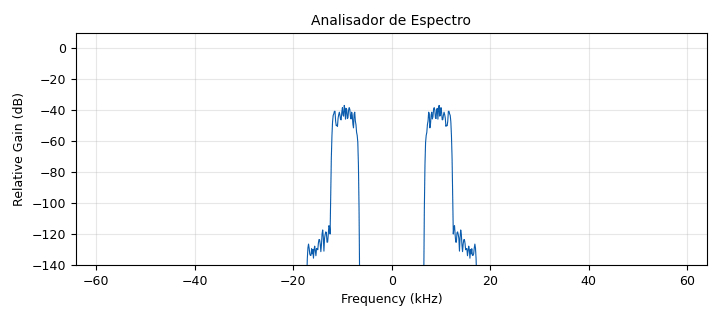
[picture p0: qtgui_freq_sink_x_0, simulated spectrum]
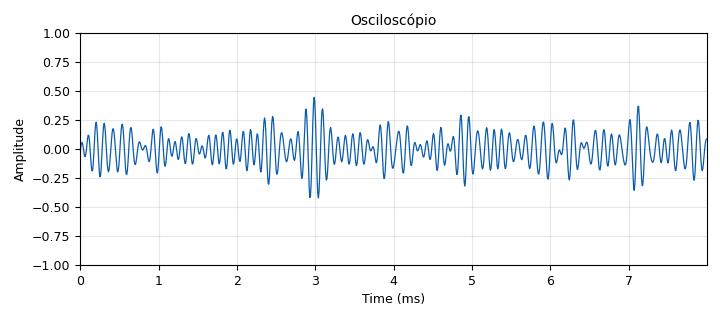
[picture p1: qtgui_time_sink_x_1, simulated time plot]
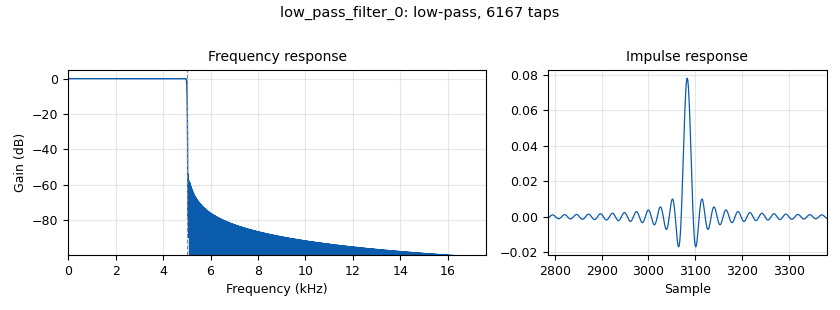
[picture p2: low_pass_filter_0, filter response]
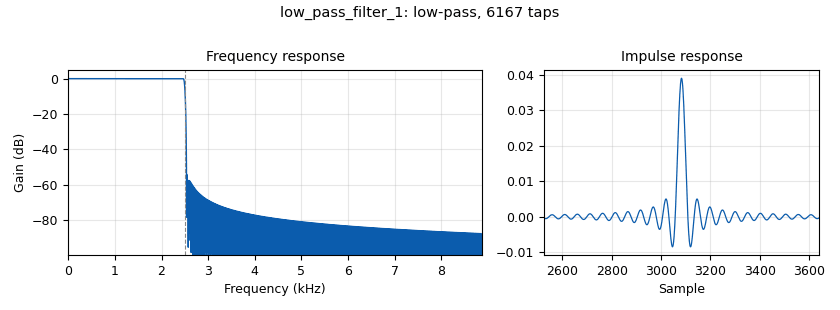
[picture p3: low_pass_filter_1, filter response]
options:
  parameters:
    author: pedro
    generate_options: qt_gui
    id: m180108140_Exp03_AR02
    output_language: python
    title: AR02
  states: {}

blocks:
- name: samp_rate
  id: variable
  parameters:
    value: '128000'
  states: {}
- name: analog_noise_source_x_0
  id: analog_noise_source_x
  parameters:
    amp: '1'
    noise_type: analog.GR_GAUSSIAN
    seed: '0'
    type: float
  states: {}
- name: analog_sig_source_x_0
  id: analog_sig_source_x
  parameters:
    amp: '1'
    freq: '2500'
    offset: '0'
    phase: '0'
    samp_rate: samp_rate
    type: float
    waveform: analog.GR_SIN_WAVE
  states: {}
- name: analog_sig_source_x_0_0
  id: analog_sig_source_x
  parameters:
    amp: '1'
    freq: '9500'
    offset: '0'
    phase: '0'
    samp_rate: samp_rate
    type: float
    waveform: analog.GR_SIN_WAVE
  states: {}
- name: analog_sig_source_x_1
  id: analog_sig_source_x
  parameters:
    amp: '1'
    freq: '2500'
    offset: '0'
    phase: '0'
    samp_rate: samp_rate
    type: float
    waveform: analog.GR_COS_WAVE
  states: {}
- name: analog_sig_source_x_1_0
  id: analog_sig_source_x
  parameters:
    amp: '1'
    freq: '9500'
    offset: '0'
    phase: '0'
    samp_rate: samp_rate
    type: float
    waveform: analog.GR_COS_WAVE
  states: {}
- name: blocks_add_xx_0
  id: blocks_add_xx
  parameters:
    type: float
  states: {state: disabled}
- name: blocks_multiply_xx_0
  id: blocks_multiply_xx
  parameters:
    type: float
  states: {}
- name: blocks_multiply_xx_0_0
  id: blocks_multiply_xx
  parameters:
    type: float
  states: {}
- name: blocks_multiply_xx_0_0_0
  id: blocks_multiply_xx
  parameters:
    type: float
  states: {}
- name: blocks_multiply_xx_0_1
  id: blocks_multiply_xx
  parameters:
    type: float
  states: {}
- name: blocks_rms_xx_0
  id: blocks_rms_xx
  parameters:
    alpha: '0.0001'
    type: float
  states: {}
- name: blocks_sub_xx_0
  id: blocks_sub_xx
  parameters:
    type: float
  states: {}
- name: blocks_throttle_0
  id: blocks_throttle
  parameters:
    samples_per_second: samp_rate
    type: float
  states: {}
- name: blocks_throttle_0_0
  id: blocks_throttle
  parameters:
    samples_per_second: samp_rate
    type: float
  states: {}
- name: blocks_throttle_0_0_0
  id: blocks_throttle
  parameters:
    samples_per_second: samp_rate
    type: float
  states: {}
- name: blocks_throttle_0_0_0_0
  id: blocks_throttle
  parameters:
    samples_per_second: samp_rate
    type: float
  states: {}
- name: blocks_throttle_0_0_1
  id: blocks_throttle
  parameters:
    samples_per_second: samp_rate
    type: float
  states: {}
- name: low_pass_filter_0
  id: low_pass_filter
  parameters:
    cutoff_freq: '5000'
    decim: '1'
    gain: '1'
    samp_rate: samp_rate
    type: fir_filter_fff
    width: '50'
    win: firdes.WIN_HAMMING
  states: {}
- name: low_pass_filter_1
  id: low_pass_filter
  parameters:
    cutoff_freq: '2500'
    decim: '1'
    gain: '1'
    samp_rate: samp_rate
    type: fir_filter_fff
    width: '50'
    win: firdes.WIN_HAMMING
  states: {}
- name: low_pass_filter_1_0
  id: low_pass_filter
  parameters:
    cutoff_freq: '2500'
    decim: '1'
    gain: '1'
    samp_rate: samp_rate
    type: fir_filter_fff
    width: '50'
    win: firdes.WIN_HAMMING
  states: {}
- name: qtgui_freq_sink_x_0
  id: qtgui_freq_sink_x
  parameters:
    bw: samp_rate
    ctrlpanel: 'True'
    fc: '0'
    fftsize: '1024'
    grid: 'True'
    gui_hint: (1,2,7,1)
    name: Analisador de Espectro
    type: float
    wintype: firdes.WIN_BLACKMAN_hARRIS
  states: {}
- name: qtgui_number_sink_0
  id: qtgui_number_sink
  parameters:
    graph_type: qtgui.NUM_GRAPH_HORIZ
    gui_hint: (8,1,1,2)
    name: Valor RMS
    type: float
  states: {}
- name: qtgui_time_sink_x_1
  id: qtgui_time_sink_x
  parameters:
    ctrlpanel: 'True'
    grid: 'True'
    gui_hint: (1,1,7,1)
    name: Osciloscópio
    size: '1024'
    srate: samp_rate
    tr_mode: qtgui.TRIG_MODE_AUTO
    type: float
    yunit: '"V"'
  states: {}

connections:
- [analog_noise_source_x_0, '0', blocks_throttle_0, '0']
- [analog_sig_source_x_0, '0', blocks_throttle_0_0_0, '0']
- [analog_sig_source_x_0_0, '0', blocks_throttle_0_0_0_0, '0']
- [analog_sig_source_x_1, '0', blocks_throttle_0_0, '0']
- [analog_sig_source_x_1_0, '0', blocks_throttle_0_0_1, '0']
- [blocks_add_xx_0, '0', blocks_rms_xx_0, '0']
- [blocks_add_xx_0, '0', qtgui_freq_sink_x_0, '0']
- [blocks_add_xx_0, '0', qtgui_time_sink_x_1, '0']
- [blocks_multiply_xx_0, '0', low_pass_filter_1, '0']
- [blocks_multiply_xx_0_0, '0', low_pass_filter_1_0, '0']
- [blocks_multiply_xx_0_0_0, '0', blocks_add_xx_0, '1']
- [blocks_multiply_xx_0_0_0, '0', blocks_sub_xx_0, '1']
- [blocks_multiply_xx_0_1, '0', blocks_add_xx_0, '0']
- [blocks_multiply_xx_0_1, '0', blocks_sub_xx_0, '0']
- [blocks_rms_xx_0, '0', qtgui_number_sink_0, '0']
- [blocks_sub_xx_0, '0', blocks_rms_xx_0, '0']
- [blocks_sub_xx_0, '0', qtgui_freq_sink_x_0, '0']
- [blocks_sub_xx_0, '0', qtgui_time_sink_x_1, '0']
- [blocks_throttle_0, '0', low_pass_filter_0, '0']
- [blocks_throttle_0_0, '0', blocks_multiply_xx_0, '0']
- [blocks_throttle_0_0_0, '0', blocks_multiply_xx_0_0, '1']
- [blocks_throttle_0_0_0_0, '0', blocks_multiply_xx_0_0_0, '0']
- [blocks_throttle_0_0_1, '0', blocks_multiply_xx_0_1, '1']
- [low_pass_filter_0, '0', blocks_multiply_xx_0, '1']
- [low_pass_filter_0, '0', blocks_multiply_xx_0_0, '0']
- [low_pass_filter_1, '0', blocks_multiply_xx_0_1, '0']
- [low_pass_filter_1_0, '0', blocks_multiply_xx_0_0_0, '1']

metadata:
  file_format: 1
